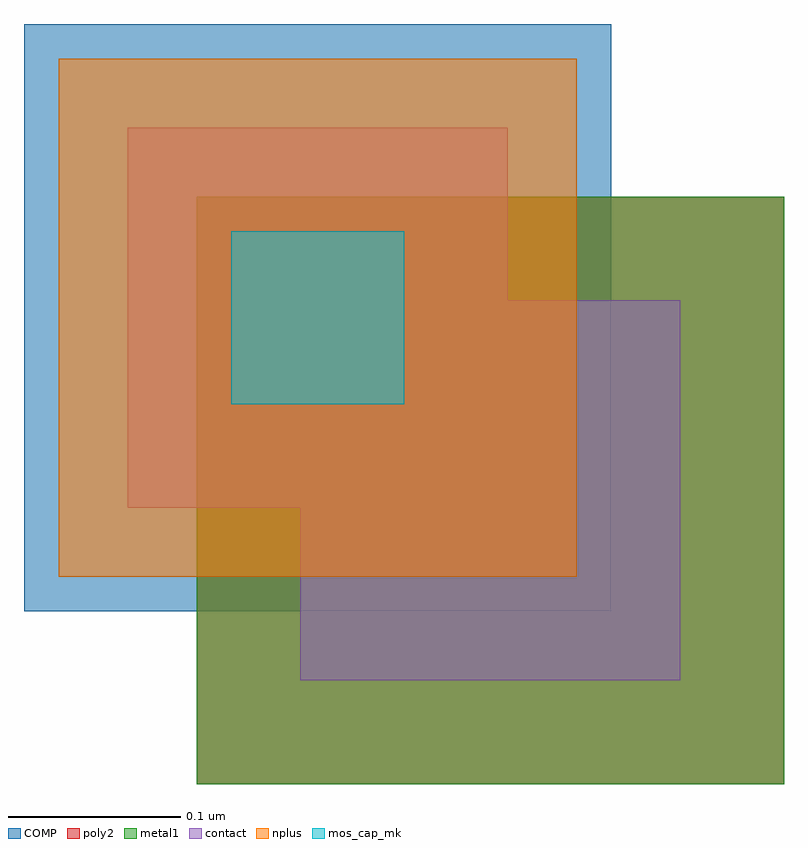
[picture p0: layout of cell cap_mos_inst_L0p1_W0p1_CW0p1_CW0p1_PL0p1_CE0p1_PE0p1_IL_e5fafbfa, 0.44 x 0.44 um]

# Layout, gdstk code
import gdstk
lib = gdstk.Library(unit=1e-6, precision=1e-09)
def R(c, l, rs):  # rectangles x0, y0, x1, y1
    for r in rs: c.add(gdstk.rectangle(r[:2], r[2:], *l))
COMP = (22, 0)
poly2 = (30, 0)
nplus = (32, 0)
contact = (33, 0)
metal1 = (34, 0)
mos_cap_mk = (166, 5)

rectangle_gdsfactorypcom = lib.new_cell('rectangle_gdsfactorypcomponentspshapesprectangle_S0p1_0_050bad12')
R(rectangle_gdsfactorypcom, COMP, [(0,0,0.1,0.1)])

c_rectangle_gdsfactorypcom = lib.new_cell('rectangle_gdsfactorypcomponentspshapesprectangle_S0p1_0_78e77698')
R(c_rectangle_gdsfactorypcom, mos_cap_mk, [(0,0,0.1,0.1)])

c_rectangle_gdsfactorypcom_ = lib.new_cell('rectangle_gdsfactorypcomponentspshapesprectangle_S0p22__bfea7709')
R(c_rectangle_gdsfactorypcom_, contact, [(0,0,0.22,0.22)])

via_generator_xr0_0p1_yr = lib.new_cell('via_generator_XR0_0p1_YR0_0p1_VS0p22_0p22_VLcontact_VE0_f40a647a')
via_generator_xr0_0p1_yr.add(gdstk.Reference(c_rectangle_gdsfactorypcom_, (-0.06,-0.06)))

c_rectangle_gdsfactorypcom__ = lib.new_cell('rectangle_gdsfactorypcomponentspshapesprectangle_S0p339_7cf635e5')
R(c_rectangle_gdsfactorypcom__, COMP, [(0,0,0.34,0.34)])

via_stack_xr0_0p1_yr0_0p = lib.new_cell('via_stack_XR0_0p1_YR0_0p1_ML1_CS0p22_0p22_CE0p07_ME0p06_19d2f936')
via_stack_xr0_0p1_yr0_0p.add(gdstk.Reference(via_generator_xr0_0p1_yr, (0,0)))
via_stack_xr0_0p1_yr0_0p.add(gdstk.Reference(c_rectangle_gdsfactorypcom__, (-0.12,-0.12)))

c_rectangle_gdsfactorypcom___ = lib.new_cell('rectangle_gdsfactorypcomponentspshapesprectangle_S0p300_a0cc6067')
R(c_rectangle_gdsfactorypcom___, nplus, [(0,0,0.3,0.3)])

c_rectangle_gdsfactorypcom____ = lib.new_cell('rectangle_gdsfactorypcomponentspshapesprectangle_S0p1_0_409482d2')
R(c_rectangle_gdsfactorypcom____, poly2, [(0,0,0.1,0.1)])

via_generator_xr0p1_0p2_ = lib.new_cell('via_generator_XR0p1_0p2_YRm0p1_0_VS0p22_0p22_VLcontact__7508fa12')
via_generator_xr0p1_0p2_.add(gdstk.Reference(c_rectangle_gdsfactorypcom_, (0.04,-0.16)))

c_rectangle_gdsfactorypcom_____ = lib.new_cell('rectangle_gdsfactorypcomponentspshapesprectangle_S0p339_f4050e4b')
R(c_rectangle_gdsfactorypcom_____, poly2, [(0,0,0.34,0.34)])

via_stack_xr0p1_0p2_yrm0 = lib.new_cell('via_stack_XR0p1_0p2_YRm0p1_0_ML1_CS0p22_0p22_CE0p07_ME0_4a5ad41b')
via_stack_xr0p1_0p2_yrm0.add(gdstk.Reference(via_generator_xr0p1_0p2_, (0,0)))
via_stack_xr0p1_0p2_yrm0.add(gdstk.Reference(c_rectangle_gdsfactorypcom_____, (-0.02,-0.22)))

c_rectangle_gdsfactorypcom______ = lib.new_cell('rectangle_gdsfactorypcomponentspshapesprectangle_S0p34__26a4db77')
R(c_rectangle_gdsfactorypcom______, metal1, [(0,0,0.34,0.34)])

cap_mos_inst_l0p1_w0p1_c = lib.new_cell('cap_mos_inst_L0p1_W0p1_CW0p1_CW0p1_PL0p1_CE0p1_PE0p1_IL_e5fafbfa')
cap_mos_inst_l0p1_w0p1_c.add(gdstk.Reference(rectangle_gdsfactorypcom, (0,0)))
cap_mos_inst_l0p1_w0p1_c.add(gdstk.Reference(c_rectangle_gdsfactorypcom, (0,0)))
cap_mos_inst_l0p1_w0p1_c.add(gdstk.Reference(via_stack_xr0_0p1_yr0_0p, (0,0)))
cap_mos_inst_l0p1_w0p1_c.add(gdstk.Reference(c_rectangle_gdsfactorypcom___, (-0.1,-0.1)))
cap_mos_inst_l0p1_w0p1_c.add(gdstk.Reference(c_rectangle_gdsfactorypcom____, (0.1,-0.1)))
cap_mos_inst_l0p1_w0p1_c.add(gdstk.Reference(via_stack_xr0p1_0p2_yrm0, (0,0)))
cap_mos_inst_l0p1_w0p1_c.add(gdstk.Reference(c_rectangle_gdsfactorypcom______, (-0.02,-0.22)))

lib.write_gds('cap_mos_inst_L0p1_W0p1_CW0p1_CW0p1_PL0p1_CE0p1_PE0p1_IL_e5fafbfa.gds')
